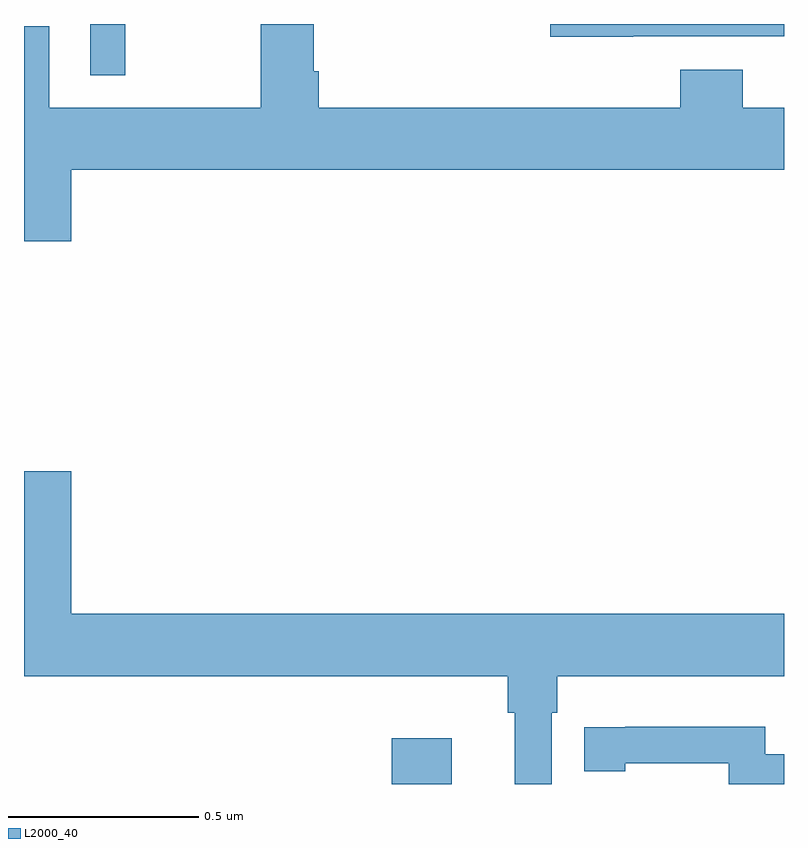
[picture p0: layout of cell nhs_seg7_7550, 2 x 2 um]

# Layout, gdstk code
import gdstk
lib = gdstk.Library(unit=1e-6, precision=1e-09)
def R(c, l, rs):  # rectangles x0, y0, x1, y1
    for r in rs: c.add(gdstk.rectangle(r[:2], r[2:], *l))
def P(c, l, *ps):  # polygons
    for p in ps: c.add(gdstk.Polygon(p, *l))
L2000_40 = (2000, 40)

nhs_seg7_7550 = lib.new_cell('nhs_seg7_7550')
R(nhs_seg7_7550, L2000_40, [(213.968,999,214.126,999.121), (213.174,1000.865,213.267,1001)])
P(nhs_seg7_7550, L2000_40, [(213.124,1000.616),(215,1000.616),(215,1000.78),(214.891,1000.78),(214.891,1000.879),(214.727,1000.879),(214.727,1000.78),(213.776,1000.78),(213.776,1000.876),(213.763,1000.876),(213.763,1001),(213.623,1001),(213.623,1000.78),(213.066,1000.78),(213.066,1000.994),(213,1000.994),(213,1000.428),(213.124,1000.428)],
  [(214.603,1000.968),(215,1000.968),(215,1001),(214.385,1001),(214.385,1000.967),(214.603,1000.967)],
  [(214.389,999.188),(214.403,999.188),(214.403,999.284),(215,999.284),(215,999.448),(213.124,999.448),(213.124,999.823),(213,999.823),(213,999.284),(214.273,999.284),(214.273,999.188),(214.292,999.188),(214.292,999),(214.389,999)],
  [(215,999.078),(214.95,999.078),(214.95,999.151),(214.582,999.151),(214.582,999.15),(214.474,999.15),(214.474,999.034),(214.582,999.034),(214.582,999.054),(214.854,999.054),(214.854,999),(215,999)])

lib.write_gds('nhs_seg7_7550.gds')
